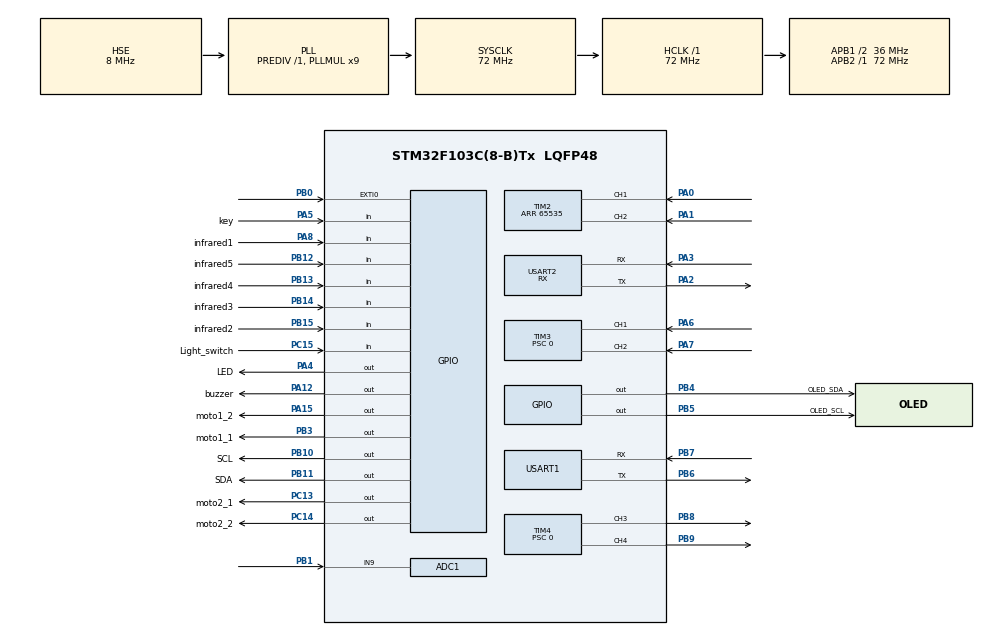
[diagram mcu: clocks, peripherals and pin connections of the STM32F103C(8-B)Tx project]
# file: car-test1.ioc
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ADC1.Channel-3\#ChannelRegularConversion=ADC_CHANNEL_9
ADC1.NbrOfConversionFlag=1
ADC1.Rank-3\#ChannelRegularConversion=1
ADC1.SamplingTime-3\#ChannelRegularConversion=ADC_SAMPLETIME_1CYCLE_5
ADC1.master=1
Mcu.Family=STM32F1
Mcu.Name=STM32F103C(8-B)Tx
Mcu.Package=LQFP48
NVIC.EXTI0_IRQn=true\:0\:0\:false\:false\:true\:true\:true\:true
NVIC.PriorityGroup=NVIC_PRIORITYGROUP_4
NVIC.TIM1_UP_IRQn=true\:0\:0\:false\:false\:true\:true\:true\:true
NVIC.TIM2_IRQn=true\:2\:0\:true\:false\:true\:true\:true\:true
NVIC.TIM3_IRQn=true\:2\:0\:true\:false\:true\:true\:true\:true
NVIC.USART1_IRQn=true\:0\:0\:false\:false\:true\:true\:true\:true
NVIC.USART2_IRQn=true\:0\:0\:false\:false\:true\:true\:true\:true
PA0-WKUP.Signal=S_TIM2_CH1_ETR
PA1.Signal=S_TIM2_CH2
PA12.GPIO_Label=buzzer
PA12.Signal=GPIO_Output
PA13.Mode=Serial_Wire
PA13.Signal=SYS_JTMS-SWDIO
PA14.Mode=Serial_Wire
PA14.Signal=SYS_JTCK-SWCLK
PA15.GPIO_Label=moto1_2
PA15.Signal=GPIO_Output
PA2.Mode=Asynchronous
PA2.Signal=USART2_TX
PA3.Mode=Asynchronous
PA3.Signal=USART2_RX
PA4.GPIO_Label=LED
PA4.Signal=GPIO_Output
PA5.GPIO_Label=key
PA5.GPIO_PuPd=GPIO_NOPULL
PA5.Signal=GPIO_Input
PA6.GPIO_PuPd=GPIO_PULLUP
PA6.Signal=S_TIM3_CH1
PA7.GPIO_PuPd=GPIO_PULLUP
PA7.Signal=S_TIM3_CH2
PA8.GPIO_Label=infrared1
PA8.Signal=GPIO_Input
PB0.GPIO_ModeDefaultEXTI=GPIO_MODE_IT_FALLING
PB0.GPIO_PuPd=GPIO_PULLUP
PB0.Signal=GPXTI0
PB1.Signal=ADCx_IN9
PB10.GPIO_Label=SCL
PB10.GPIO_ModeDefaultOutputPP=GPIO_MODE_OUTPUT_OD
PB10.GPIO_PuPd=GPIO_NOPULL
PB10.GPIO_Speed=GPIO_SPEED_FREQ_MEDIUM
PB10.Signal=GPIO_Output
PB11.GPIO_Label=SDA
PB11.GPIO_ModeDefaultOutputPP=GPIO_MODE_OUTPUT_OD
PB11.GPIO_PuPd=GPIO_NOPULL
PB11.GPIO_Speed=GPIO_SPEED_FREQ_MEDIUM
PB11.Signal=GPIO_Output
PB12.GPIO_Label=infrared5
PB12.Signal=GPIO_Input
PB13.GPIO_Label=infrared4
PB13.Signal=GPIO_Input
PB14.GPIO_Label=infrared3
PB14.Signal=GPIO_Input
PB15.GPIO_Label=infrared2
PB15.Signal=GPIO_Input
PB3.GPIO_Label=moto1_1
PB3.Signal=GPIO_Output
PB4.GPIO_Label=OLED_SDA
PB4.GPIO_ModeDefaultOutputPP=GPIO_MODE_OUTPUT_OD
PB4.GPIO_PuPd=GPIO_NOPULL
PB4.Signal=GPIO_Output
PB5.GPIO_Label=OLED_SCL
PB5.GPIO_ModeDefaultOutputPP=GPIO_MODE_OUTPUT_OD
PB5.GPIO_PuPd=GPIO_NOPULL
PB5.Signal=GPIO_Output
PB6.Mode=Asynchronous
PB6.Signal=USART1_TX
PB7.Mode=Asynchronous
PB7.Signal=USART1_RX
PB8.Signal=S_TIM4_CH3
PB9.Signal=S_TIM4_CH4
PC13-TAMPER-RTC.GPIO_Label=moto2_1
PC13-TAMPER-RTC.Signal=GPIO_Output
PC14-OSC32_IN.GPIO_Label=moto2_2
PC14-OSC32_IN.Signal=GPIO_Output
PC15-OSC32_OUT.GPIO_Label=Light_switch
PC15-OSC32_OUT.Signal=GPIO_Input
PD0-OSC_IN.Mode=HSE-External-Oscillator
PD0-OSC_IN.Signal=RCC_OSC_IN
PD1-OSC_OUT.Mode=HSE-External-Oscillator
PD1-OSC_OUT.Signal=RCC_OSC_OUT
ProjectManager.HeapSize=0x200
ProjectManager.StackSize=0x400
ProjectManager.TargetToolchain=MDK-ARM V5.32
RCC.ADCPresc=RCC_ADCPCLK2_DIV6
RCC.AHBFreq_Value=72000000
RCC.APB1CLKDivider=RCC_HCLK_DIV2
RCC.APB1Freq_Value=36000000
RCC.APB1TimFreq_Value=72000000
RCC.APB2Freq_Value=72000000
RCC.APB2TimFreq_Value=72000000
RCC.HCLKFreq_Value=72000000
RCC.PLLMUL=RCC_PLL_MUL9
RCC.PLLSourceVirtual=RCC_PLLSOURCE_HSE
RCC.SYSCLKFreq_VALUE=72000000
RCC.SYSCLKSource=RCC_SYSCLKSOURCE_PLLCLK
RCC.USBFreq_Value=72000000
SH.ADCx_IN9.0=ADC1_IN9,IN9
SH.S_TIM2_CH1_ETR.0=TIM2_CH1,Encoder_Interface
SH.S_TIM2_CH2.0=TIM2_CH2,Encoder_Interface
SH.S_TIM3_CH1.0=TIM3_CH1,Encoder_Interface
SH.S_TIM3_CH2.0=TIM3_CH2,Encoder_Interface
SH.S_TIM4_CH3.0=TIM4_CH3,PWM Generation3 CH3
SH.S_TIM4_CH4.0=TIM4_CH4,PWM Generation4 CH4
TIM1.AutoReloadPreload=TIM_AUTORELOAD_PRELOAD_ENABLE
TIM1.Period=9999
TIM1.Prescaler=71
TIM2.AutoReloadPreload=TIM_AUTORELOAD_PRELOAD_ENABLE
TIM2.EncoderMode=TIM_ENCODERMODE_TI12
TIM2.IC1Filter=0
TIM2.IC1Polarity=TIM_ICPOLARITY_RISING
TIM2.IC2Filter=0
TIM2.IC2Polarity=TIM_ICPOLARITY_RISING
TIM2.Period=65535
TIM3.AutoReloadPreload=TIM_AUTORELOAD_PRELOAD_ENABLE
TIM3.CounterMode=TIM_COUNTERMODE_UP
TIM3.EncoderMode=TIM_ENCODERMODE_TI12
TIM3.IC1Polarity=TIM_ICPOLARITY_RISING
TIM3.IC2Polarity=TIM_ICPOLARITY_RISING
TIM3.Period=65535
TIM3.Prescaler=0
TIM4.AutoReloadPreload=TIM_AUTORELOAD_PRELOAD_ENABLE
TIM4.Channel-PWM\ Generation3\ CH3=TIM_CHANNEL_3
TIM4.Channel-PWM\ Generation4\ CH4=TIM_CHANNEL_4
TIM4.Period=7199
TIM4.Prescaler=0
USART1.VirtualMode=VM_ASYNC
USART2.Mode=MODE_RX
USART2.VirtualMode=VM_ASYNC
VP_TIM1_VS_ClockSourceINT.Mode=Internal
VP_TIM1_VS_ClockSourceITR.Mode=TriggerSource_ITR0
VP_TIM4_VS_ClockSourceINT.Mode=Internal
board=custom

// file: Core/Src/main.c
/* USER CODE BEGIN Header */
/**
  ******************************************************************************
  * @file           : main.c
  * @brief          : Main program body
  ******************************************************************************
  * @attention
  *
  * Copyright (c) 2025 STMicroelectronics.
  * All rights reserved.
  *
  * This software is licensed under terms that can be found in the LICENSE file
  * in the root directory of this software component.
  * If no LICENSE file comes with this software, it is provided AS-IS.
  *
  ******************************************************************************
  */
/* USER CODE END Header */
#include "main.h"
#include "adc.h"
#include "tim.h"
#include "usart.h"
#include "gpio.h"

/* USER CODE BEGIN Includes */
#include "mpu6050.h"
#include "delay.h"
#include "headfiles.h"
#include "task.h"
/* USER CODE END Includes */

/* USER CODE BEGIN PV */
float ZhongZhi = -5.5; //机械中值
float pitch,roll,yaw;
short aacx,aacy,aacz;
short gyrox,gyroy,gyroz;
int temp;
float Angle_Balance,Gyro_Balance,Gyro_Turn;
float Acceleration_Z,Acceleration_X;
int moto_pwm_l,moto_pwm_r;
extern pids velo;
float setAngleForward = 0; //全局设置前进时的目标角度
//float Balance_Kp=300,Balance_Kd=1.0,Velocity_Kp=120,Velocity_Ki=0.4;//PID参数
float bal_kp=1000,bal_ki=0,bal_kd=2.05;
// float bal_kp=300,bal_ki=0,bal_kd=1.0;
float velo_kp=130,velo_ki=0.7,velo_kd=0;
// float bal_kp=800,bal_ki=0,bal_kd=1.6;
// float velo_kp=100,velo_ki=0.35,velo_kd=0;
float turn_kp=160,turn_ki=0,turn_kd=0.4;
u8 taskType = 0;
/* USER CODE END PV */

void SystemClock_Config(void);

int main(void)
{

  /* MCU Configuration--------------------------------------------------------*/

  /* Reset of all peripherals, Initializes the Flash interface and the Systick. */
  HAL_Init();

  /* Configure the system clock */
  SystemClock_Config();

  /* Initialize all configured peripherals */
  MX_GPIO_Init();
  MX_TIM1_Init();
  MX_TIM2_Init();
  MX_TIM3_Init();
  MX_TIM4_Init();
  MX_USART2_UART_Init();
  MX_ADC1_Init();
  MX_USART1_UART_Init();
  /* USER CODE BEGIN 2 */

  // __HAL_RCC_AFIO_CLK_ENABLE();  // 使能 AFIO 外设时钟
  __HAL_AFIO_REMAP_SWJ_NOJTAG();
  // __HAL_RCC_AFIO_CLK_DISABLE();  // 禁用AFIO外设时钟
  //     // 恢复JTAG+SWD (完全恢复默认配置)
  // MODIFY_REG(AFIO->MAPR, AFIO_MAPR_SWJ_CFG, 0x00000000);

	delay_init(72);
	HAL_NVIC_DisableIRQ(EXTI0_IRQn);
  OLED_Init();

  HAL_TIM_PWM_Init(&htim4);
	HAL_TIM_PWM_Start(&htim4,TIM_CHANNEL_3);
	HAL_TIM_PWM_Start(&htim4,TIM_CHANNEL_4);

	MOTO_init();

	HAL_TIM_Encoder_Start(&htim2,TIM_CHANNEL_3);
	HAL_TIM_Encoder_Start(&htim2,TIM_CHANNEL_4);
	HAL_TIM_Encoder_Start(&htim3,TIM_CHANNEL_3);
	HAL_TIM_Encoder_Start(&htim3,TIM_CHANNEL_4);
  HAL_TIM_Base_Start_IT(&htim1);
	encoder_speed=0;  //

  // OLED_ShowString(1,1,"World Hello",OLED_8X16);
  OLED_Update();

	// pid_init(&bal,390,0,2.5);
	// pid_init(&velo,200,0.66,0);

  pid_init(&bal,bal_kp,bal_ki,bal_kd);
  pid_init(&velo,velo_kp,velo_ki,velo_kd);

	Moto_SetPwm(0,0);

	MPU6050_initialize();           //=====MPU6050
  delay_ms(50);
	DMP_Init();                     //=====DMP

	__HAL_GPIO_EXTI_CLEAR_IT(GPIO_PIN_0);
	HAL_NVIC_EnableIRQ(EXTI0_IRQn);
	HAL_UART_Receive_IT(&huart2,&rxdat,1);
  HAL_UART_Receive_IT(&huart1,&rxdat_1,1);
  printf("start\r\n");
	memset(temp_rx,0,30);
  memset(temp_rx_1,0,30);
  //自定义初始化
  turnInit(23);

  /* USER CODE END 2 */

  /* Infinite loop */
  /* USER CODE BEGIN WHILE */
  while (1)
  {
    if (oledUpdateFlag == 1)
    {
      // 相对方向名，顺序为：前、左、右、后
      const char* rel_dir_names[] = {"F", "L", "R", "B"};
      // 绝对方向到相对方向的映射表
      // [上次行驶方向][绝对方向] = 相对方向
      // const uint8_t abs2rel[4][4] = {
      //     // 上次方向为0（后）
      //     {0, 1, 3, 2}, // 绝对0后->F, 1左->L, 2前->R, 3右->B
      //     // 上次方向为1（左）
      //     {3, 0, 1, 2}, // 绝对0后->B, 1左->F, 2前->L, 3右->R
      //     // 上次方向为2（前）
      //     {2, 3, 0, 1}, // 绝对0后->R, 1左->B, 2前->F, 3右->L
      //     // 上次方向为3（右）
      //     {1, 2, 3, 0}  // 绝对0后->L, 1左->R, 2前->B, 3右->F
      // };
      // const char* relativeDir[4]={"F","L","R","B"};
      OLED_Clear();
      oledUpdateFlag = 0;
      printf("state:%d\r\n",STATE);
      OLED_ShowString(1,1,"ST:",OLED_8X16);
      OLED_ShowNum(17,1,STATE,1,OLED_8X16);
      OLED_ShowString(33,1,"Dir:",OLED_8X16);
      OLED_ShowNum(65,1,direct%4,1,OLED_8X16);

      if(taskType == 0){
      	OLED_ShowString(105,1,"T0",OLED_8X16);
      }else if (taskType == 1) {
      	OLED_ShowString(105,1,"T1",OLED_8X16);
      }
      // 显示当前点编号
      OLED_ShowString(1, 17, "NO:", OLED_8X16);
      OLED_ShowNum(33, 17, now ? now->no : 0, 3, OLED_8X16);

      // 显示当前点X坐标（带正负号）
      OLED_ShowString(1, 33, "X:", OLED_8X16);
      if(now) {
          if(now->x >= 0) {
              OLED_ShowString(17, 33, "+", OLED_8X16);
              OLED_ShowNum(25, 33, now->x, 4, OLED_8X16);
          } else {
              OLED_ShowString(17, 33, "-", OLED_8X16);
              OLED_ShowNum(25, 33, -now->x, 4, OLED_8X16);
          }
      }

      // 显示当前点Y坐标（带正负号）
      OLED_ShowString(65, 33, "Y:", OLED_8X16);
      if(now) {
          if(now->y >= 0) {
              OLED_ShowString(81, 33, "+", OLED_8X16);
              OLED_ShowNum(89, 33, now->y, 4, OLED_8X16);
          } else {
              OLED_ShowString(81, 33, "-", OLED_8X16);
              OLED_ShowNum(89, 33, -now->y, 4, OLED_8X16);
          }
      }

      OLED_ShowString(1, 49, "WAY:", OLED_8X16);
      u8 x = 33;

      // 当小车到达节点时（STATE == 4），显示相对于当前方向的可行方向

          // 使用当前的显示方式（显示上个路口的可行方向）
      // uint8_t rel_dir = last_turn_dir; // 上一次实际行驶方向（0后1左2前3右）
      for(int i=0; i<4; i++) {
          if(last_junction_dirs & (1<<i)) {
              // i为绝对方向，映射到相对方向
              // uint8_t rel = abs2rel[rel_dir][i];
              OLED_ShowString(x, 49, (char *)rel_dir_names[i], OLED_8X16);
              x += 10;
          }
      }
      // 显示当前点的绝对方向
      OLED_Update();
    }

    /* USER CODE END WHILE */

    /* USER CODE BEGIN 3 */
    if(! taskType){
      task1();
    }else{
      task2();
    }
    rx_proc();
    key_proc();
    // show_gray_value();
  }
  /* USER CODE END 3 */
}

void SystemClock_Config(void)
{
  RCC_OscInitTypeDef RCC_OscInitStruct = {0};
  RCC_ClkInitTypeDef RCC_ClkInitStruct = {0};
  RCC_PeriphCLKInitTypeDef PeriphClkInit = {0};

  /** Initializes the RCC Oscillators according to the specified parameters
  * in the RCC_OscInitTypeDef structure.
  */
  RCC_OscInitStruct.OscillatorType = RCC_OSCILLATORTYPE_HSE;
  RCC_OscInitStruct.HSEState = RCC_HSE_ON;
  RCC_OscInitStruct.HSEPredivValue = RCC_HSE_PREDIV_DIV1;
  RCC_OscInitStruct.HSIState = RCC_HSI_ON;
  RCC_OscInitStruct.PLL.PLLState = RCC_PLL_ON;
  RCC_OscInitStruct.PLL.PLLSource = RCC_PLLSOURCE_HSE;
  RCC_OscInitStruct.PLL.PLLMUL = RCC_PLL_MUL9;
  if (HAL_RCC_OscConfig(&RCC_OscInitStruct) != HAL_OK)
  {
    Error_Handler();
  }

  /** Initializes the CPU, AHB and APB buses clocks
  */
  RCC_ClkInitStruct.ClockType = RCC_CLOCKTYPE_HCLK|RCC_CLOCKTYPE_SYSCLK
                              |RCC_CLOCKTYPE_PCLK1|RCC_CLOCKTYPE_PCLK2;
  RCC_ClkInitStruct.SYSCLKSource = RCC_SYSCLKSOURCE_PLLCLK;
  RCC_ClkInitStruct.AHBCLKDivider = RCC_SYSCLK_DIV1;
  RCC_ClkInitStruct.APB1CLKDivider = RCC_HCLK_DIV2;
  RCC_ClkInitStruct.APB2CLKDivider = RCC_HCLK_DIV1;

  if (HAL_RCC_ClockConfig(&RCC_ClkInitStruct, FLASH_LATENCY_2) != HAL_OK)
  {
    Error_Handler();
  }
  PeriphClkInit.PeriphClockSelection = RCC_PERIPHCLK_ADC;
  PeriphClkInit.AdcClockSelection = RCC_ADCPCLK2_DIV6;
  if (HAL_RCCEx_PeriphCLKConfig(&PeriphClkInit) != HAL_OK)
  {
    Error_Handler();
  }
}

void Error_Handler(void)
{
  __disable_irq();
  while (1)
  {
  }
}
